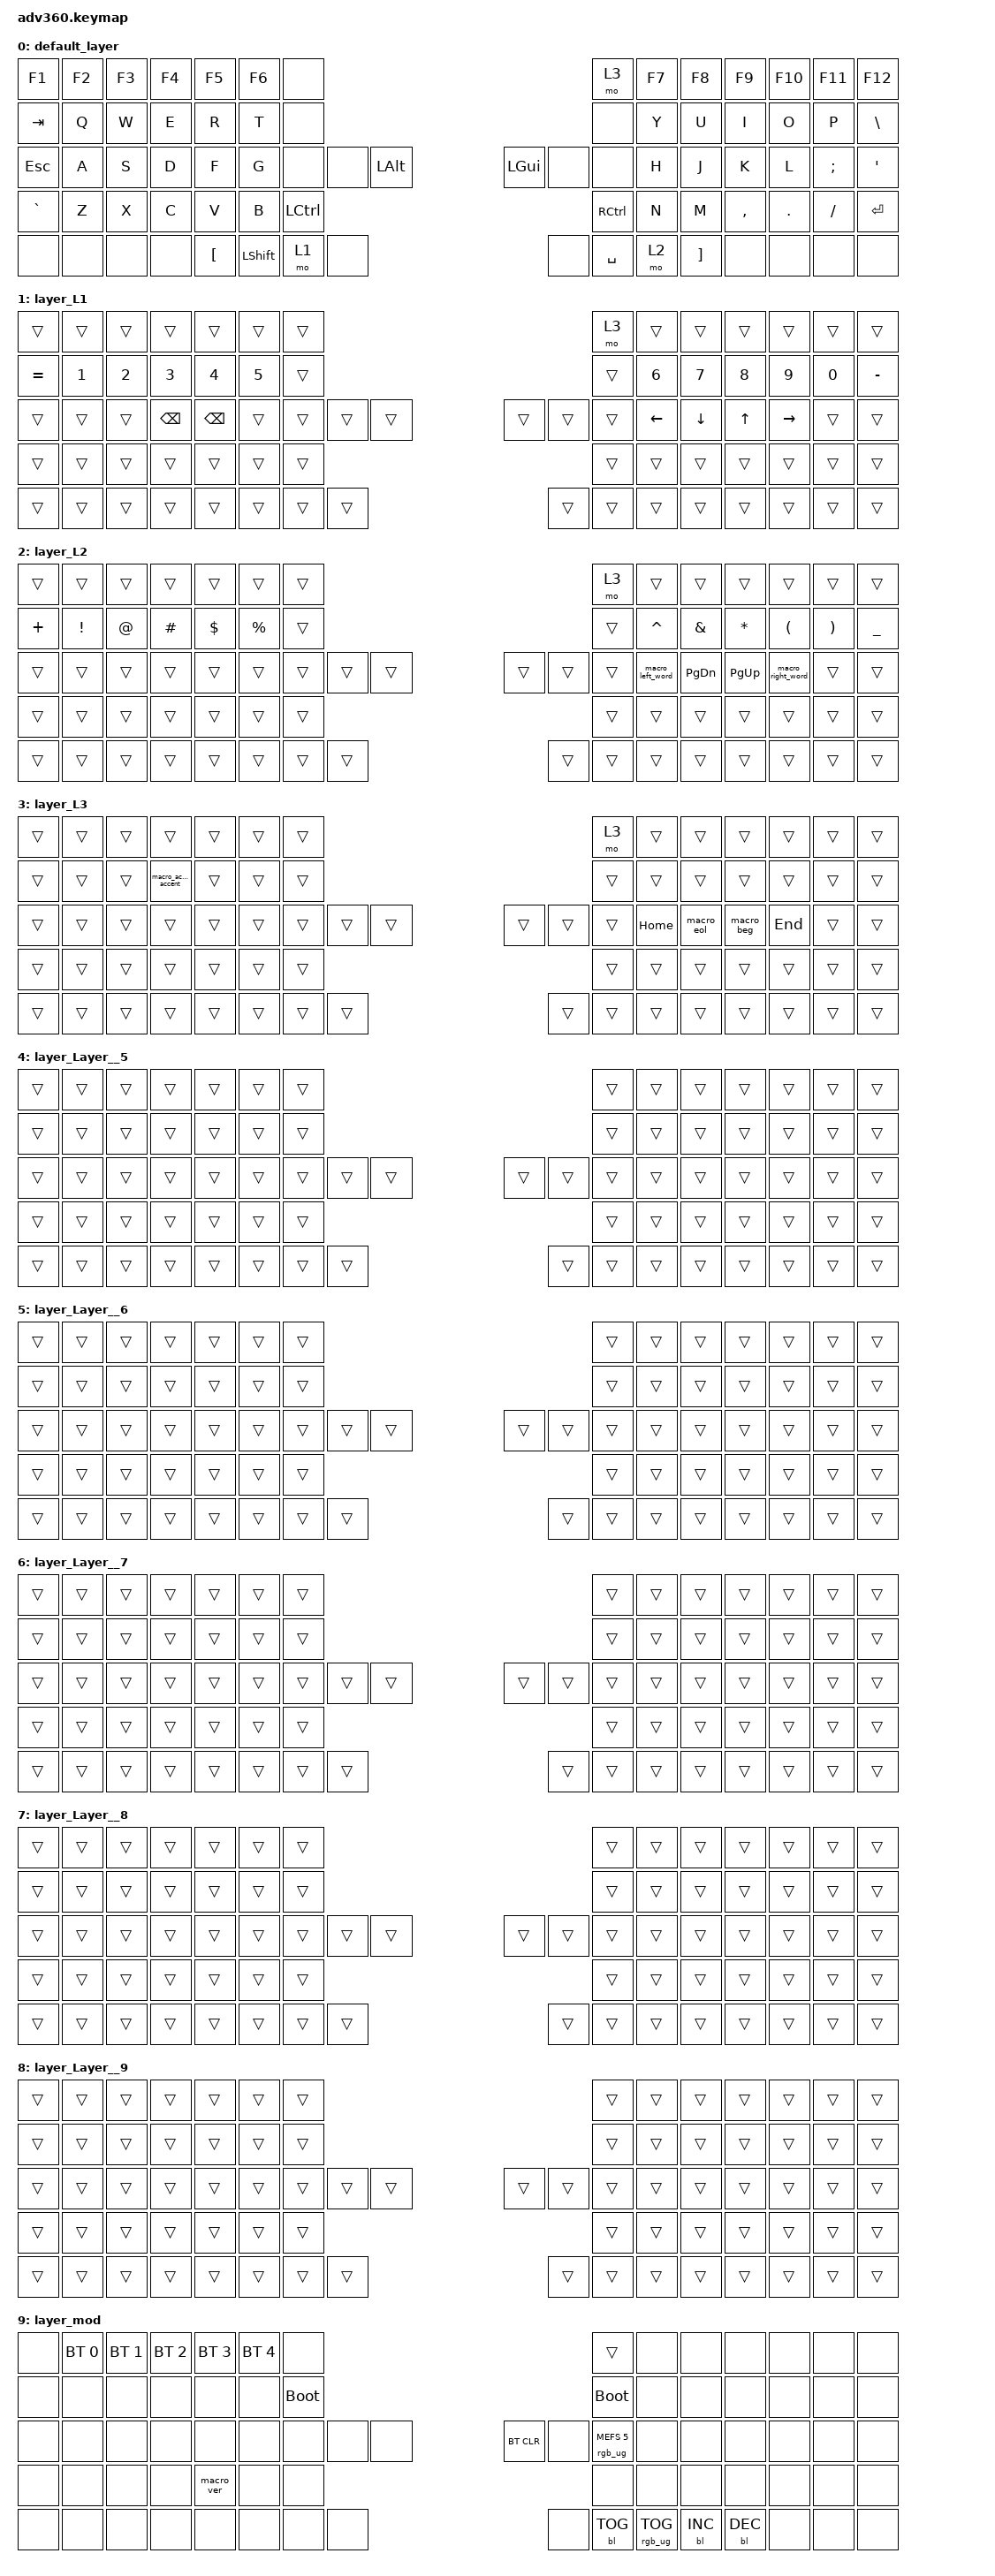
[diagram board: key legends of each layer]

/*
 * Copyright (c) 2020 The ZMK Contributors
 *
 * SPDX-License-Identifier: MIT
 */


/* THIS FILE WAS GENERATED!
 *
 * This file was generated automatically. You may or may not want to
 * edit it directly.
 */

#include <behaviors.dtsi>
#include <dt-bindings/zmk/keys.h>
#include <dt-bindings/zmk/bt.h>
#include <dt-bindings/zmk/rgb.h>
#include <dt-bindings/zmk/backlight.h>

/ {
  behaviors {
    #include "macros.dtsi"
    #include "version.dtsi"

    hm: homerow_mods {
        compatible = "zmk,behavior-hold-tap";
        label = "HOMEROW_MODS";
        #binding-cells = <2>;
        tapping-term-ms = <200>;
        quick_tap_ms = <175>;
        flavor = "tap-preferred";
        bindings = <&kp>, <&kp>;
    };
  };

    keymap {
        compatible = "zmk,keymap";


        default_layer {
            bindings = <
    &kp F1  &kp F2  &kp F3  &kp F4    &kp F5  &kp F6                &none                                                            &mo 3  &kp F7    &kp F8     &kp F9  &kp F10   &kp F11     &kp F12
   &kp TAB   &kp Q   &kp W   &kp E     &kp R   &kp T                &none                                                            &none   &kp Y     &kp U      &kp I    &kp O     &kp P    &kp BSLH
   &kp ESC   &kp A   &kp S   &kp D     &kp F   &kp G                &none   &none   &kp LALT                   &kp LGUI      &none   &none   &kp H     &kp J      &kp K    &kp L  &kp SEMI     &kp SQT
 &kp GRAVE   &kp Z   &kp X   &kp C     &kp V   &kp B                               &kp LCTRL                  &kp RCTRL                      &kp N     &kp M  &kp COMMA  &kp DOT  &kp FSLH  &kp RETURN
     &none   &none   &none   &none  &kp LBKT                    &kp LSHFT   &mo 1      &none                      &none  &kp SPACE   &mo 2          &kp RBKT      &none    &none     &none       &none
            >;
        };

        layer_L1 {
            bindings = <
    &trans  &trans  &trans         &trans         &trans  &trans            &trans                                                   &mo 3    &trans    &trans  &trans     &trans  &trans     &trans
 &kp EQUAL  &kp N1  &kp N2         &kp N3         &kp N4  &kp N5            &trans                                                  &trans    &kp N6    &kp N7  &kp N8     &kp N9  &kp N0  &kp MINUS
    &trans  &trans  &trans  &kp BACKSPACE  &kp BACKSPACE  &trans            &trans  &trans  &trans                  &trans  &trans  &trans  &kp LEFT  &kp DOWN  &kp UP  &kp RIGHT  &trans     &trans
    &trans  &trans  &trans         &trans         &trans  &trans                            &trans                  &trans                    &trans    &trans  &trans     &trans  &trans     &trans
    &trans  &trans  &trans         &trans         &trans                    &trans  &trans  &trans                  &trans  &trans  &trans              &trans  &trans     &trans  &trans     &trans
            >;
        };

        layer_L2 {
            bindings = <
   &trans           &trans       &trans    &trans      &trans       &trans            &trans                                                   &mo 3            &trans         &trans        &trans                &trans                 &trans          &trans
 &kp PLUS  &kp EXCLAMATION  &kp AT_SIGN  &kp HASH  &kp DOLLAR  &kp PERCENT            &trans                                                  &trans         &kp CARET  &kp AMPERSAND  &kp ASTERISK  &kp LEFT_PARENTHESIS  &kp RIGHT_PARENTHESIS  &kp UNDERSCORE
   &trans           &trans       &trans    &trans      &trans       &trans            &trans  &trans  &trans                  &trans  &trans  &trans  &macro_left_word  &kp PAGE_DOWN   &kp PAGE_UP     &macro_right_word                 &trans          &trans
   &trans           &trans       &trans    &trans      &trans       &trans                            &trans                  &trans                            &trans         &trans        &trans                &trans                 &trans          &trans
   &trans           &trans       &trans    &trans      &trans                         &trans  &trans  &trans                  &trans  &trans  &trans                           &trans        &trans                &trans                 &trans          &trans
            >;
        };

        layer_L3 {
            bindings = <
 &trans  &trans  &trans               &trans  &trans  &trans            &trans                                                   &mo 3    &trans      &trans      &trans   &trans  &trans  &trans
 &trans  &trans  &trans  &macro_acute_accent  &trans  &trans            &trans                                                  &trans    &trans      &trans      &trans   &trans  &trans  &trans
 &trans  &trans  &trans               &trans  &trans  &trans            &trans  &trans  &trans                  &trans  &trans  &trans  &kp HOME  &macro_eol  &macro_beg  &kp END  &trans  &trans
 &trans  &trans  &trans               &trans  &trans  &trans                            &trans                  &trans                    &trans      &trans      &trans   &trans  &trans  &trans
 &trans  &trans  &trans               &trans  &trans                    &trans  &trans  &trans                  &trans  &trans  &trans                &trans      &trans   &trans  &trans  &trans
            >;
        };

        layer_Layer__5 {
            bindings = <
 &trans  &trans  &trans  &trans  &trans  &trans            &trans                                                  &trans  &trans  &trans  &trans  &trans  &trans  &trans
 &trans  &trans  &trans  &trans  &trans  &trans            &trans                                                  &trans  &trans  &trans  &trans  &trans  &trans  &trans
 &trans  &trans  &trans  &trans  &trans  &trans            &trans  &trans  &trans                  &trans  &trans  &trans  &trans  &trans  &trans  &trans  &trans  &trans
 &trans  &trans  &trans  &trans  &trans  &trans                            &trans                  &trans                  &trans  &trans  &trans  &trans  &trans  &trans
 &trans  &trans  &trans  &trans  &trans                    &trans  &trans  &trans                  &trans  &trans  &trans          &trans  &trans  &trans  &trans  &trans
            >;
        };

        layer_Layer__6 {
            bindings = <
 &trans  &trans  &trans  &trans  &trans  &trans            &trans                                                  &trans  &trans  &trans  &trans  &trans  &trans  &trans
 &trans  &trans  &trans  &trans  &trans  &trans            &trans                                                  &trans  &trans  &trans  &trans  &trans  &trans  &trans
 &trans  &trans  &trans  &trans  &trans  &trans            &trans  &trans  &trans                  &trans  &trans  &trans  &trans  &trans  &trans  &trans  &trans  &trans
 &trans  &trans  &trans  &trans  &trans  &trans                            &trans                  &trans                  &trans  &trans  &trans  &trans  &trans  &trans
 &trans  &trans  &trans  &trans  &trans                    &trans  &trans  &trans                  &trans  &trans  &trans          &trans  &trans  &trans  &trans  &trans
            >;
        };

        layer_Layer__7 {
            bindings = <
 &trans  &trans  &trans  &trans  &trans  &trans            &trans                                                  &trans  &trans  &trans  &trans  &trans  &trans  &trans
 &trans  &trans  &trans  &trans  &trans  &trans            &trans                                                  &trans  &trans  &trans  &trans  &trans  &trans  &trans
 &trans  &trans  &trans  &trans  &trans  &trans            &trans  &trans  &trans                  &trans  &trans  &trans  &trans  &trans  &trans  &trans  &trans  &trans
 &trans  &trans  &trans  &trans  &trans  &trans                            &trans                  &trans                  &trans  &trans  &trans  &trans  &trans  &trans
 &trans  &trans  &trans  &trans  &trans                    &trans  &trans  &trans                  &trans  &trans  &trans          &trans  &trans  &trans  &trans  &trans
            >;
        };

        layer_Layer__8 {
            bindings = <
 &trans  &trans  &trans  &trans  &trans  &trans            &trans                                                  &trans  &trans  &trans  &trans  &trans  &trans  &trans
 &trans  &trans  &trans  &trans  &trans  &trans            &trans                                                  &trans  &trans  &trans  &trans  &trans  &trans  &trans
 &trans  &trans  &trans  &trans  &trans  &trans            &trans  &trans  &trans                  &trans  &trans  &trans  &trans  &trans  &trans  &trans  &trans  &trans
 &trans  &trans  &trans  &trans  &trans  &trans                            &trans                  &trans                  &trans  &trans  &trans  &trans  &trans  &trans
 &trans  &trans  &trans  &trans  &trans                    &trans  &trans  &trans                  &trans  &trans  &trans          &trans  &trans  &trans  &trans  &trans
            >;
        };

        layer_Layer__9 {
            bindings = <
 &trans  &trans  &trans  &trans  &trans  &trans            &trans                                                  &trans  &trans  &trans  &trans  &trans  &trans  &trans
 &trans  &trans  &trans  &trans  &trans  &trans            &trans                                                  &trans  &trans  &trans  &trans  &trans  &trans  &trans
 &trans  &trans  &trans  &trans  &trans  &trans            &trans  &trans  &trans                  &trans  &trans  &trans  &trans  &trans  &trans  &trans  &trans  &trans
 &trans  &trans  &trans  &trans  &trans  &trans                            &trans                  &trans                  &trans  &trans  &trans  &trans  &trans  &trans
 &trans  &trans  &trans  &trans  &trans                    &trans  &trans  &trans                  &trans  &trans  &trans          &trans  &trans  &trans  &trans  &trans
            >;
        };

        layer_mod {
            bindings = <
  &none  &bt BT_SEL 0  &bt BT_SEL 1  &bt BT_SEL 2  &bt BT_SEL 3  &bt BT_SEL 4                  &none                                                                          &trans   &none       &none       &none   &none   &none   &none
  &none         &none         &none         &none         &none         &none            &bootloader                                                                     &bootloader   &none       &none       &none   &none   &none   &none
  &none         &none         &none         &none         &none         &none                  &none   &none   &none                  &bt BT_CLR       &none  &rgb_ug RGB_MEFS_CMD 5   &none       &none       &none   &none   &none   &none
  &none         &none         &none         &none    &macro_ver         &none                                  &none                       &none                                       &none       &none       &none   &none   &none   &none
  &none         &none         &none         &none         &none                                &none   &none   &none                       &none  &bl BL_TOG         &rgb_ug RGB_TOG          &bl BL_INC  &bl BL_DEC   &none   &none   &none
            >;
        };

    };
};
